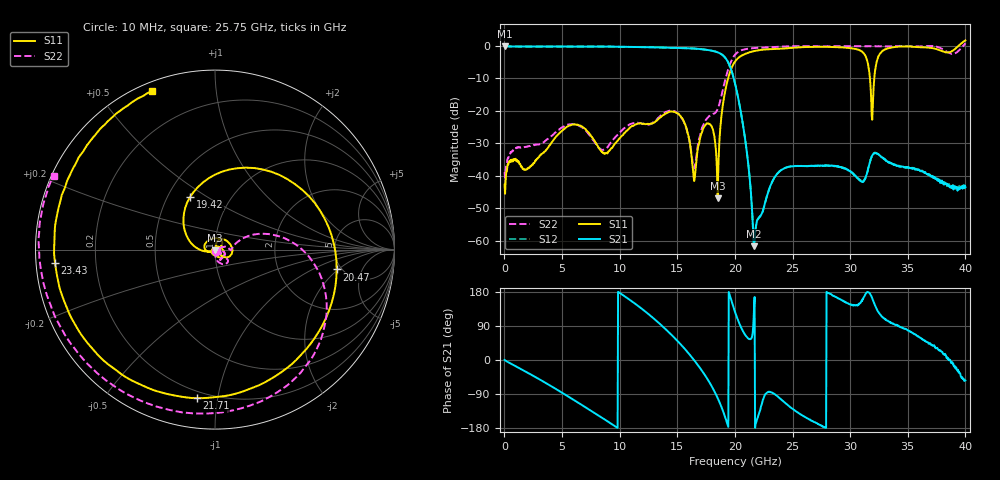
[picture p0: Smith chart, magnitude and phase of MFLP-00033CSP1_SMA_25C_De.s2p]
!Keysight Technologies,N5247B,US58420632,A.17.35.14
!Date: Friday, September 05, 2025 09:46:26
!Correction: S11(C  2-Port  )
!S21(C  2-Port  )
!S12(C  2-Port  )
!S22(C  2-Port  )
!S2P File: Measurements: S11, S21, S12, S22:
# Hz S  dB  R 50
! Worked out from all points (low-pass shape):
!   1000 points, 10 MHz to 40 GHz, reference 50 ohm
!   highest |S21| = -0.10 dB at 10 MHz (marker M1); lowest = -61.7 dB at 21.67 GHz (marker M2)
!   |S21| within 3 dB of the highest: start of sweep to 19.01 GHz
!   lowest |S11| = -47.0 dB at 18.5 GHz (marker M3), VSWR 1.01, Z = 50.1 - j0.443 ohm
!   |S11| at or under -10 dB: start of sweep to 19.41 GHz; 31.72 GHz to 32.09 GHz (375.9 MHz wide, 1.18 % of centre)
!   |S22| runs from -40.6 to 0.8 dB; largest |S21 - S12| = 0.0012
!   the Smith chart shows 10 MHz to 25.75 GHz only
!   S11 on the Smith chart (normalised r, x): 10 MHz: 1.00, -0.01; 19.42 GHz: 0.65, +0.42; 20.47 GHz: 4.55, -1.90; 21.71 GHz: 0.16, -0.87; 23.43 GHz: 0.06, -0.04; 25.75 GHz: 0.04, +0.68
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1e7  -42.76 -71.8  -0.10 0.2  -0.11 0.2  -38.88 -50.7
3.852883e9  -30.95 29.7  -0.24 -65.4  -0.24 -65.4  -28.40 -11.9
6.695015e9  -24.87 -50.8  -0.20 -118.4  -0.20 -118.4  -25.02 -37.2
1.017763e10  -27.77 -164.2  -0.29 173.4  -0.29 173.4  -26.13 -43.4
1.334e10  -22.64 52.2  -0.50 99.2  -0.49 99.2  -22.21 -38.2
1.53415e10  -22.02 -32.3  -0.68 39.6  -0.67 39.6  -22.06 -70.7
1.638228e10  -39.00 -12.2  -0.83 2.5  -0.82 2.5  -37.42 -54.4
1.762321e10  -23.93 60.7  -1.28 -50.7  -1.27 -50.7  -22.20 4.5
1.850387e10  -46.95 -79.8  -2.01 -100.5  -2.01 -100.5  -19.49 11.6
1.942456e10  -9.80 115.6  -5.19 -176.6  -5.19 -176.6  -7.09 4.5
2.002502e10  -4.79 39.1  -11.83 125.2  -11.83 125.2  -2.68 -33.0
2.046535e10  -3.27 -9.3  -19.47 90.4  -19.47 90.5  -1.49 -57.2
2.166625e10  -1.61 -95.0  -61.73 144.0  -60.58 144.5  -0.68 -101.1
2.170628e10  -1.58 -97.0  -59.64 166.3  -59.93 167.6  -0.67 -102.2
2.342757e10  -0.97 -175.3  -40.57 -89.7  -40.63 -89.3  -0.34 -151.4
2.574931e10  -0.44 111.8  -37.02 -144.5  -37.04 -144.4  -0.10 155.4
2.667e10  -0.31 95.8  -36.92 -160.9  -37.11 -160.3  -0.10 141.4
3.047285e10  -0.98 21.8  -40.02 144.2  -40.01 144.1  -0.11 88.7
3.155366e10  -5.70 -35.3  -37.89 178.8  -38.03 179.5  -0.10 72.3
3.207405e10  -10.75 107.1  -33.16 150.6  -33.16 150.9  -0.14 65.6
3.335502e10  -0.69 34.4  -35.93 101.5  -35.94 102.6  -0.18 51.8
4e10  1.65 -49.3  -43.54 -54.0  -43.32 -58.3  0.83 -20.4
